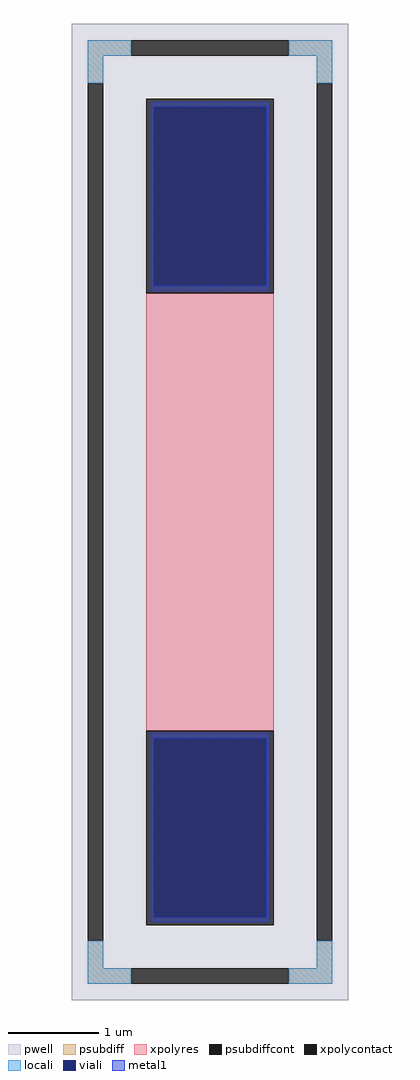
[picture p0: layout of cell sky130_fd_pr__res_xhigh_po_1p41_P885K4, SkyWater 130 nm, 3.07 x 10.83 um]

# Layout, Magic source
magic
tech sky130A
magscale 1 2
<< pwell >>
rect -307 -1083 307 1083
<< psubdiff >>
rect -271 1013 -175 1047
rect 175 1013 271 1047
rect -271 951 -237 1013
rect 237 951 271 1013
rect -271 -1013 -237 -951
rect 237 -1013 271 -951
rect -271 -1047 -175 -1013
rect 175 -1047 271 -1013
<< psubdiffcont >>
rect -175 1013 175 1047
rect -271 -951 -237 951
rect 237 -951 271 951
rect -175 -1047 175 -1013
<< xpolycontact >>
rect -141 485 141 917
rect -141 -917 141 -485
<< xpolyres >>
rect -141 -485 141 485
<< locali >>
rect -271 1013 -175 1047
rect 175 1013 271 1047
rect -271 951 -237 1013
rect 237 951 271 1013
rect -271 -1013 -237 -951
rect 237 -1013 271 -951
rect -271 -1047 -175 -1013
rect 175 -1047 271 -1013
<< viali >>
rect -125 502 125 899
rect -125 -899 125 -502
<< metal1 >>
rect -131 899 131 911
rect -131 502 -125 899
rect 125 502 131 899
rect -131 490 131 502
rect -131 -502 131 -490
rect -131 -899 -125 -502
rect 125 -899 131 -502
rect -131 -911 131 -899
<< properties >>
string FIXED_BBOX -254 -1030 254 1030
string gencell sky130_fd_pr__res_xhigh_po_1p41
string library sky130
string parameters w 1.410 l 5.013 m 1 nx 1 wmin 1.410 lmin 0.50 rho 2000 val 7.377k dummy 0 dw 0.0 term 188.2 sterm 0.0 caplen 0 wmax 1.410 guard 1 glc 1 grc 1 gtc 1 gbc 1 compatible {sky130_fd_pr__res_xhigh_po_0p35  sky130_fd_pr__res_xhigh_po_0p69 sky130_fd_pr__res_xhigh_po_1p41  sky130_fd_pr__res_xhigh_po_2p85 sky130_fd_pr__res_xhigh_po_5p73} snake 0 full_metal 1 n_guard 0 hv_guard 0 vias 1 viagb 0 viagt 0 viagl 0 viagr 0
<< end >>
